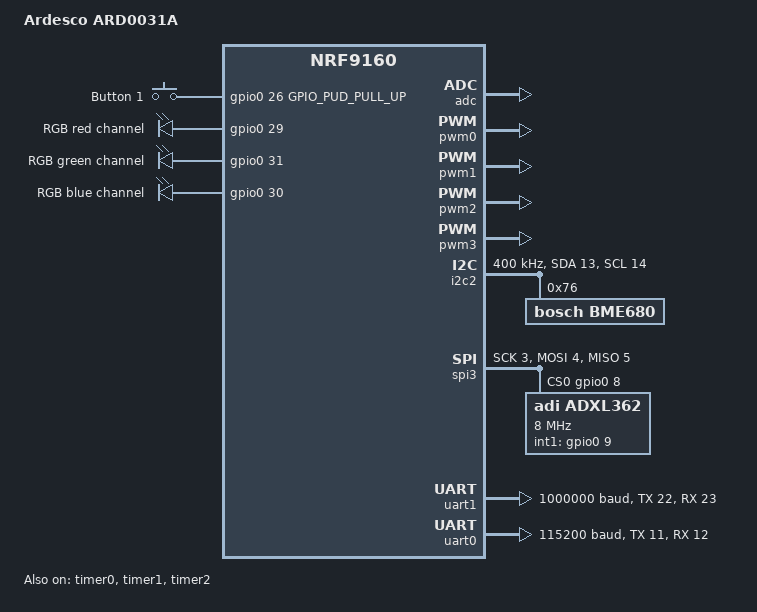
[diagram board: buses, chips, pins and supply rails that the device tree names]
/*
 * Copyright (c) 2019 Nordic Semiconductor ASA
 * Copyright (c) Ericsson AB 2020, all rights reserved
 *
 * SPDX-License-Identifier: LicenseRef-BSD-5-Clause-Nordic
 */

/ {
	model = "Ardesco ARD0031A";
	compatible = "nordic,pca20035";

	chosen {
		zephyr,console = &uart0;
		zephyr,shell-uart = &uart0;
		zephyr,uart-mcumgr = &uart0;
	};

	buttons {
		compatible = "gpio-keys";

		button0: button_0 {
			gpios = <&gpio0 26 GPIO_PUD_PULL_UP>;
			label = "Button 1";
		};
	};

	leds {
		compatible = "gpio-leds";
		red_led: led_1 {
			gpios = <&gpio0 29 0>;
			label = "RGB red channel";
		};
		green_led: led_2 {
			gpios = <&gpio0 31 0>;
			label = "RGB green channel";
		};
		blue_led: led_3 {
			gpios = <&gpio0 30 0>;
			label = "RGB blue channel";
		};
	};

	aliases {
		sw0 = &button0;
		led0 = &red_led;
		led1 = &green_led;
		led2 = &blue_led;
		rgb-pwm = &pwm0;
	};
};

&adc {
	status = "okay";
};

&gpiote {
	status = "okay";
};

&gpio0 {
	status = "okay";
};

/* PWM0 is intended for RGB LED control */
&pwm0 {
	status = "okay";
	ch0-pin = <29>;
	ch1-pin = <31>;
	ch2-pin = <30>;
};

&pwm1 {
	status = "okay";
};

&pwm2 {
	status = "okay";
};

&pwm3 {
	status = "okay";
};

&i2c2 {
	compatible = "nordic,nrf-twim";
	status = "okay";
	sda-pin = <13>;
	scl-pin = <14>;
	clock-frequency = <I2C_BITRATE_FAST>;

	bme680@76 {
		compatible = "bosch,bme680";
		label = "BME680";
		reg = <0x76>;
	};
};

&spi3 {
	compatible = "nordic,nrf-spim";
	status = "okay";
	sck-pin = <3>;
	mosi-pin = <4>;
	miso-pin = <5>;
	cs-gpios = <&gpio0 8 0>;

	adxl362@0 {
		compatible = "adi,adxl362";
		label = "ADXL362";
		spi-max-frequency = <8000000>;
		reg = <0>;
		int1-gpios = <&gpio0 9 0>;
	};
};

&timer0 {
	status = "okay";
};

&timer1 {
	status = "okay";
};

&timer2 {
	status = "okay";
};
/*
&uart2 {
	current-speed = <115200>;
	status = "okay";
	tx-pin = <18>;
	rx-pin = <19>;
	rts-pin = <20>;
	cts-pin = <21>;
};
*/
&uart1 {
	current-speed = <1000000>;
	status = "okay";
	tx-pin = <22>;
	rx-pin = <23>;
	rts-pin = <24>;
	cts-pin = <25>;
};

&uart0 {
	current-speed = <115200>;
	status = "okay";
	tx-pin = <11>;
	rx-pin = <12>;
};

&flash0 {
	/*
	 * For more information, see:
	 * http://docs.zephyrproject.org/devices/dts/flash_partitions.html
	 */
	partitions {
		compatible = "fixed-partitions";
		#address-cells = <1>;
		#size-cells = <1>;

		boot_partition: partition@0 {
			label = "mcuboot";
			reg = <0x00000000 0x10000>;
		};
		slot0_partition: partition@10000 {
			label = "image-0";
		};
		slot0_ns_partition: partition@40000 {
			label = "image-0-nonsecure";
		};
		slot1_partition: partition@80000 {
			label = "image-1";
		};
		slot1_ns_partition: partition@b0000 {
			label = "image-1-nonsecure";
		};
		scratch_partition: partition@f0000 {
			label = "image-scratch";
			reg = <0x000f0000 0xa000>;
		};
		storage_partition: partition@fa000 {
			label = "storage";
			reg = <0x000fa000 0x00006000>;
		};
	};
};

/ {
	/* SRAM allocated and used by the BSD library */
	sram0_bsd: memory@20010000 {
		device_type = "memory";
		compatible = "mmio-sram";
	};

	/* SRAM allocated to the Non-Secure image */
	sram0_ns: memory@20020000 {
		device_type = "memory";
		compatible = "mmio-sram";
	};
};

/* Include partition configuration file */
#include "nrf9160_ard0031A_partition_conf.dts"
